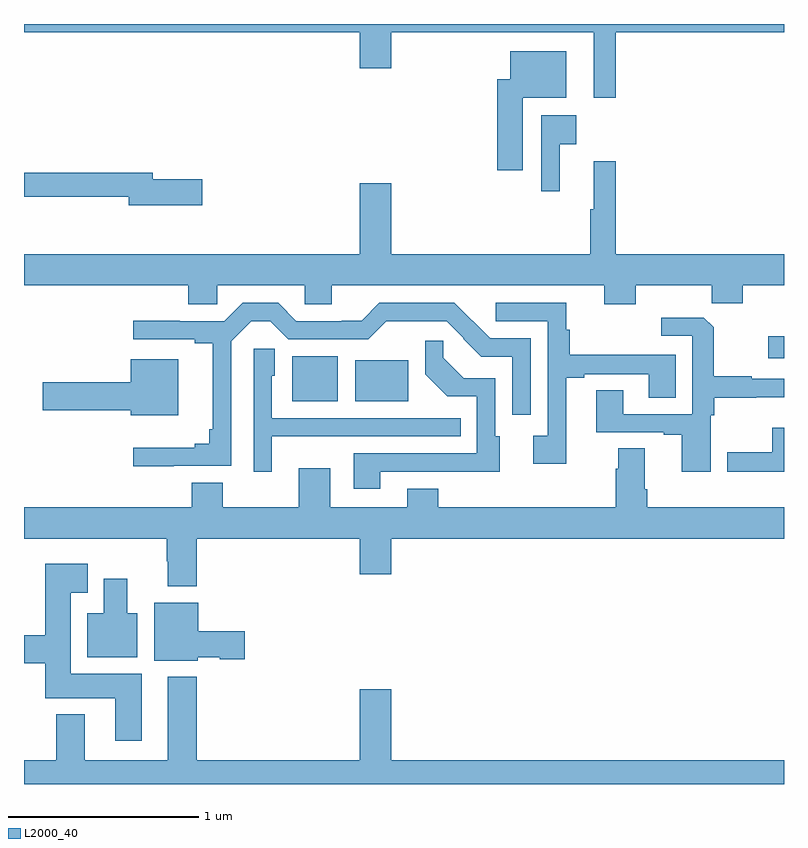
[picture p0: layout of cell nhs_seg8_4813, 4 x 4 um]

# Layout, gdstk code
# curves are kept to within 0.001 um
import gdstk
lib = gdstk.Library(unit=1e-6, precision=1e-09)
def R(c, l, rs):  # rectangles x0, y0, x1, y1
    for r in rs: c.add(gdstk.rectangle(r[:2], r[2:], *l))
def P(c, l, *ps):  # polygons
    for p in ps: c.add(gdstk.Polygon(p, *l))
L2000_40 = (2000, 40)

nhs_seg8_4813 = lib.new_cell('nhs_seg8_4813')
R(nhs_seg8_4813, L2000_40, [(404.411,1091.915,404.65,1092.151), (404.744,1091.915,405.022,1092.13), (406.917,1092.141,407,1092.256)])
P(nhs_seg8_4813, L2000_40, [(406.115,1093.856),(407,1093.856),(407,1093.9),(403,1093.9),(403,1093.856),(404.768,1093.856),(404.768,1093.668),(404.932,1093.668),(404.932,1093.856),(405.998,1093.856),(405.998,1093.512),(406.115,1093.512)],
  [(405.625,1093.511),(405.853,1093.511),(405.853,1093.756),(405.56,1093.756),(405.56,1093.608),(405.491,1093.608),(405.491,1093.131),(405.625,1093.131)],
  [(405.821,1093.268),(405.907,1093.268),(405.907,1093.42),(405.723,1093.42),(405.723,1093.02),(405.821,1093.02)],
  [(406.219,1092.524),(406.619,1092.524),(406.619,1092.431),(406.783,1092.431),(406.783,1092.524),(407,1092.524),(407,1092.688),(406.115,1092.688),(406.115,1093.177),(405.998,1093.177),(405.998,1092.924),(405.979,1092.924),(405.979,1092.688),(404.932,1092.688),(404.932,1093.063),(404.768,1093.063),(404.768,1092.688),(403,1092.688),(403,1092.524),(403.865,1092.524),(403.865,1092.426),(404.016,1092.426),(404.016,1092.524),(404.478,1092.524),(404.478,1092.426),(404.62,1092.426),(404.62,1092.524),(406.055,1092.524),(406.055,1092.425),(406.219,1092.425)],
  [(403.939,1093.082),(403.678,1093.082),(403.678,1093.118),(403,1093.118),(403,1092.99),(403.55,1092.99),(403.55,1092.947),(403.939,1092.947)],
  [(403.787,1091.574),(404.091,1091.574),(404.091,1092.231),(404.195,1092.335),(404.296,1092.335),(404.391,1092.24),(404.811,1092.24),(404.906,1092.335),(405.225,1092.336),(405.315,1092.246),(405.313,1092.244),(405.407,1092.15),(405.57,1092.15),(405.57,1091.844),(405.666,1091.844),(405.666,1092.246),(405.453,1092.246),(405.265,1092.432),(404.871,1092.432),(404.777,1092.338),(404.672,1092.338),(404.672,1092.336),(404.433,1092.336),(404.337,1092.432),(404.15,1092.432),(404.054,1092.336),(403.821,1092.336),(403.821,1092.338),(403.575,1092.338),(403.575,1092.24),(403.898,1092.24),(403.898,1092.22),(403.994,1092.22),(403.994,1091.767),(403.975,1091.767),(403.975,1091.69),(403.898,1091.69),(403.898,1091.671),(403.575,1091.671),(403.575,1091.573)],
  [(405.853,1092.037),(405.949,1092.037),(405.949,1092.057),(406.289,1092.057),(406.289,1091.932),(406.429,1091.932),(406.429,1092.158),(405.872,1092.158),(405.872,1092.29),(405.854,1092.29),(405.854,1092.432),(405.483,1092.432),(405.483,1092.336),(405.756,1092.336),(405.756,1091.734),(405.681,1091.734),(405.681,1091.586),(405.853,1091.586)],
  [(406.614,1091.84),(406.634,1091.84),(406.634,1091.932),(406.853,1091.932),(406.853,1091.936),(407,1091.936),(407,1092.033),(406.829,1092.033),(406.829,1092.046),(406.629,1092.046),(406.629,1092.303),(406.577,1092.355),(406.353,1092.355),(406.353,1092.258),(406.518,1092.258),(406.518,1091.847),(406.153,1091.847),(406.153,1091.972),(406.013,1091.972),(406.013,1091.751),(406.367,1091.751),(406.367,1091.739),(406.463,1091.739),(406.463,1091.544),(406.614,1091.544)],
  [(404.875,1091.544),(405.505,1091.543),(405.505,1091.73),(405.48,1091.73),(405.48,1092.036),(405.314,1092.036),(405.206,1092.144),(405.206,1092.232),(405.111,1092.232),(405.111,1092.056),(405.227,1091.94),(405.384,1091.94),(405.384,1091.64),(404.735,1091.64),(404.735,1091.454),(404.875,1091.454)],
  [(404.305,1091.729),(404.639,1091.729),(404.639,1091.73),(405.299,1091.73),(405.299,1091.826),(404.304,1091.826),(404.304,1092.048),(404.32,1092.048),(404.32,1092.191),(404.208,1092.191),(404.208,1091.544),(404.305,1091.544)],
  [(403.813,1092.136),(403.562,1092.136),(403.562,1092.014),(403.098,1092.014),(403.098,1091.867),(403.562,1091.867),(403.562,1091.84),(403.813,1091.84)],
  [(407,1091.776),(406.938,1091.776),(406.938,1091.645),(406.701,1091.645),(406.701,1091.543),(407,1091.543)],
  [(403.91,1091.192),(404.768,1091.192),(404.768,1091.004),(404.932,1091.004),(404.932,1091.192),(407,1091.192),(407,1091.356),(406.28,1091.356),(406.28,1091.452),(406.267,1091.452),(406.267,1091.666),(406.127,1091.666),(406.127,1091.558),(406.115,1091.558),(406.115,1091.356),(405.181,1091.356),(405.181,1091.455),(405.017,1091.455),(405.017,1091.356),(404.611,1091.356),(404.611,1091.563),(404.447,1091.563),(404.447,1091.356),(404.047,1091.356),(404.047,1091.485),(403.883,1091.485),(403.883,1091.356),(403,1091.356),(403,1091.192),(403.75,1091.192),(403.75,1091.072),(403.757,1091.072),(403.757,1090.94),(403.91,1090.94)],
  [(403.621,1090.48),(403.246,1090.48),(403.246,1090.907),(403.336,1090.907),(403.336,1091.059),(403.112,1091.059),(403.112,1090.682),(403,1090.682),(403,1090.535),(403.112,1090.535),(403.112,1090.352),(403.481,1090.352),(403.481,1090.128),(403.621,1090.128)],
  [(403.597,1090.798),(403.543,1090.798),(403.543,1090.981),(403.421,1090.981),(403.421,1090.798),(403.334,1090.798),(403.334,1090.568),(403.597,1090.568)],
  [(403.914,1090.568),(404.031,1090.568),(404.031,1090.556),(404.161,1090.556),(404.161,1090.703),(403.918,1090.703),(403.918,1090.855),(403.685,1090.855),(403.685,1090.55),(403.914,1090.55)],
  [(407,1090.024),(404.932,1090.024),(404.932,1090.399),(404.768,1090.399),(404.768,1090.024),(403.91,1090.024),(403.91,1090.465),(403.757,1090.465),(403.757,1090.024),(403.321,1090.024),(403.321,1090.267),(403.169,1090.267),(403.169,1090.024),(403,1090.024),(403,1089.9),(407,1089.9)])

lib.write_gds('nhs_seg8_4813.gds')
